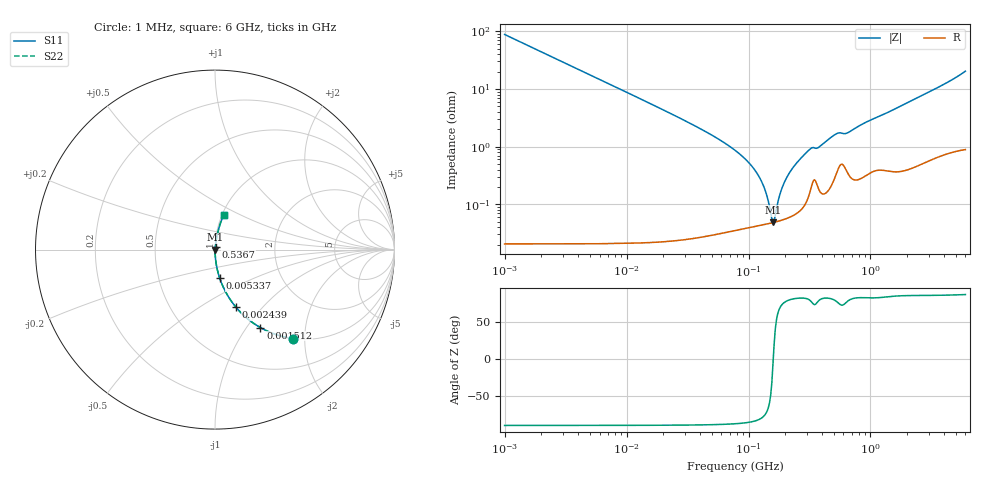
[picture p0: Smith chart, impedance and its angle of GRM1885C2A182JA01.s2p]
!Murata Part Number: GRM1885C2A182JA01
!These Parameters are Measured in Series Mode Connection
!Data Generated on Mar 30, 2021
!  o--ll--o
!Port1  Port2
!  o------o
!Operation Temp=25[degC], DC Bias Voltage=0[V]
!Freq. Start=1000[kHz] Stop=6[GHz] 401[Steps]
# Hz S RI R 50
!Freq.(Hz) S11(Real) S11(Imag) S21(Real) S21(Imag) S12(Real) S12(Imag) S22(Real) S22(Imag)
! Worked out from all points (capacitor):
!   401 points, 1 MHz to 6 GHz, reference 50 ohm
!   read as one part in series: C = 1.81 nF near 1.044 MHz
!   lowest |Z| = 48.4 mohm at 158.8 MHz (marker M1)
!   series resonance near 159.6 MHz, so ESL is about 550 pH
!   S11 on the Smith chart (normalised r, x): 1 MHz: 1.00, -1.76; 1.512 MHz: 1.00, -1.16; 2.439 MHz: 1.00, -0.72; 5.337 MHz: 1.00, -0.33; 536.7 MHz: 1.01, +0.03; 6 GHz: 1.02, +0.41
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1000000  0.4367 -0.4959  0.5633 0.4959  0.5633 0.4959  0.4367 -0.4959
1511688  0.2534 -0.4348  0.7466 0.4348  0.7466 0.4348  0.2534 -0.4348
2439274  0.1154 -0.3192  0.8846 0.3192  0.8846 0.3192  0.1154 -0.3192
4293785  0.0405 -0.1966  0.9595 0.1966  0.9595 0.1966  0.0405 -0.1966
5336962  0.0266 -0.1604  0.9734 0.1604  0.9734 0.1604  0.0266 -0.1604
1.843659e7  0.00243 -0.047  0.9976 0.047  0.9976 0.047  0.00243 -0.047
7.745967e7  0.000423 -0.00863  0.9996 0.00863  0.9996 0.00863  0.000423 -0.00863
1.005588e8  0.000418 -0.00524  0.9996 0.00524  0.9996 0.00524  0.000418 -0.00524
1.223006e8  0.000433 -0.00295  0.9996 0.00295  0.9996 0.00295  0.000433 -0.00295
1.363501e8  0.000449 -0.00173  0.9996 0.00173  0.9996 0.00173  0.000449 -0.00173
1.520136e8  0.00047 -0.000532  0.9995 0.000532  0.9995 0.000532  0.00047 -0.000532
1.587717e8  0.00048 -5.36e-05  0.9995 5.36e-05  0.9995 5.36e-05  0.00048 -5.36e-05
1.658303e8  0.000492 0.000426  0.9995 -0.000426  0.9995 -0.000426  0.000492 0.000426
1.889453e8  0.000536 0.00188  0.9995 -0.00188  0.9995 -0.00188  0.000536 0.00188
2.106508e8  0.000588 0.00313  0.9994 -0.00313  0.9994 -0.00313  0.000588 0.00313
2.561955e8  0.000758 0.00557  0.9992 -0.00557  0.9992 -0.00557  0.000758 0.00557
3.325952e8  0.00233 0.00927  0.9977 -0.00927  0.9977 -0.00927  0.00233 0.00927
3.789555e8  0.00185 0.00965  0.9981 -0.00965  0.9981 -0.00965  0.00185 0.00965
5.366786e8  0.00409 0.0165  0.9959 -0.0165  0.9959 -0.0165  0.00409 0.0165
6.527136e8  0.00369 0.017  0.9963 -0.017  0.9963 -0.017  0.00369 0.017
1.428092e9  0.0053 0.0398  0.9947 -0.0398  0.9947 -0.0398  0.0053 0.0398
6e9  0.0474 0.1918  0.9526 -0.1918  0.9526 -0.1918  0.0474 0.1918
